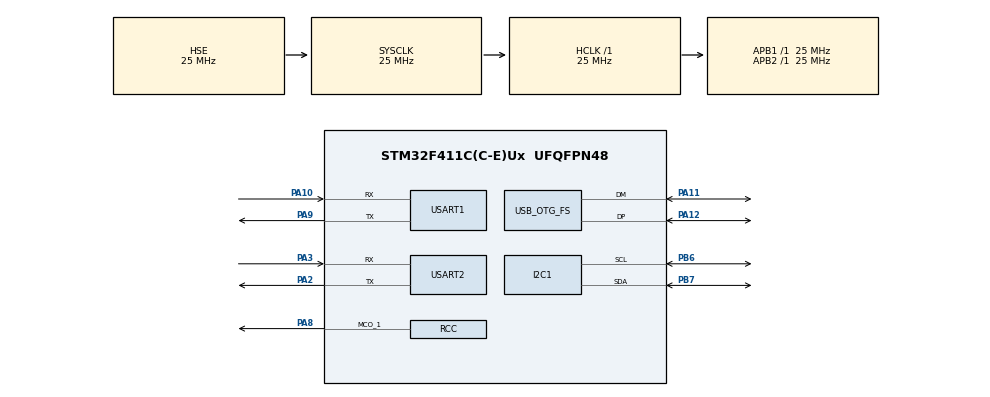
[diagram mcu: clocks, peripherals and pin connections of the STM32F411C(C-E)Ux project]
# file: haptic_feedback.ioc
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Mcu.Family=STM32F4
Mcu.Name=STM32F411C(C-E)Ux
Mcu.Package=UFQFPN48
NVIC.OTG_FS_IRQn=true\:0\:0\:false\:false\:true\:false\:true\:true
NVIC.PriorityGroup=NVIC_PRIORITYGROUP_4
PA10.Mode=Asynchronous
PA10.Signal=USART1_RX
PA11.Mode=Device_Only
PA11.Signal=USB_OTG_FS_DM
PA12.Mode=Device_Only
PA12.Signal=USB_OTG_FS_DP
PA2.GPIO_ModeDefaultPP=GPIO_MODE_AF_PP
PA2.GPIO_PuPd=GPIO_NOPULL
PA2.Mode=Asynchronous
PA2.Signal=USART2_TX
PA3.Mode=Asynchronous
PA3.Signal=USART2_RX
PA8.Mode=Clock-out-1
PA8.Signal=RCC_MCO_1
PA9.Mode=Asynchronous
PA9.Signal=USART1_TX
PB6.Mode=I2C
PB6.Signal=I2C1_SCL
PB7.Mode=I2C
PB7.Signal=I2C1_SDA
PH0\ -\ OSC_IN.Mode=HSE-External-Oscillator
PH0\ -\ OSC_IN.Signal=RCC_OSC_IN
PH1\ -\ OSC_OUT.Mode=HSE-External-Oscillator
PH1\ -\ OSC_OUT.Signal=RCC_OSC_OUT
ProjectManager.HeapSize=0x200
ProjectManager.StackSize=0x400
ProjectManager.TargetToolchain=CMake
RCC.48MHZClocksFreq_Value=48000000
RCC.AHBFreq_Value=25000000
RCC.APB1Freq_Value=25000000
RCC.APB1TimFreq_Value=25000000
RCC.APB2Freq_Value=25000000
RCC.APB2TimFreq_Value=25000000
RCC.CortexFreq_Value=25000000
RCC.HCLKFreq_Value=25000000
RCC.HSE_VALUE=25000000
RCC.HSI_VALUE=16000000
RCC.LSE_VALUE=32768
RCC.PLLM=15
RCC.PLLN=144
RCC.PLLQ=5
RCC.SYSCLKFreq_VALUE=25000000
RCC.SYSCLKSource=RCC_SYSCLKSOURCE_HSE
RCC.VCOOutputFreq_Value=240000000
USART1.VirtualMode=VM_ASYNC
USART2.VirtualMode=VM_ASYNC
USB_DEVICE.CLASS_NAME_FS=CDC
USB_DEVICE.VirtualMode=Cdc
USB_DEVICE.VirtualModeFS=Cdc_FS
USB_OTG_FS.VirtualMode=Device_Only
VP_USB_DEVICE_VS_USB_DEVICE_CDC_FS.Mode=CDC_FS
board=custom

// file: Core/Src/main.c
/* USER CODE BEGIN Header */
/**
  ******************************************************************************
  * @file           : main.c
  * @brief          : Main program body
  *                   Connections: I2C: green = clock, SC0 3rd from bottom right side => encoders
  *                                I2C: white = clock, SDA on adafruit, 4th from top right => STM
  *                              UART : PA9
  ******************************************************************************
  * @attention
  *
  * Copyright (c) 2026 STMicroelectronics.
  * All rights reserved.
  *
  * This software is licensed under terms that can be found in the LICENSE file
  * in the root directory of this software component.
  * If no LICENSE file comes with this software, it is provided AS-IS.
  *
  ******************************************************************************
  */
/* USER CODE END Header */
#include "main.h"
#include "usb_device.h"

/* USER CODE BEGIN Includes */
#include "math.h"
#include <string.h>
#include <stdio.h>
#include "logger.h"

/* USER CODE END Includes */

/* USER CODE BEGIN PD */
#define UART_TIMEOUT   100

// TCA9548A I2C Multiplexer address
#define TCA9548A_ADDR  0x70

// Magnetic Encoder (AS5600) address
#define ENCODER_ADDR   0x36

// Number of servos`
#define NUM_SERVOS     5

/* USER CODE END PD */

I2C_HandleTypeDef hi2c1;

UART_HandleTypeDef huart1;
UART_HandleTypeDef huart2;

/* USER CODE BEGIN PV */
uint8_t servo_packet[10];
uint16_t encoder_values[NUM_SERVOS];
char uart_buffer[64];
/* USER CODE END PV */

void SystemClock_Config(void);
static void MX_GPIO_Init(void);
static void MX_I2C1_Init(void);
static void MX_USART1_UART_Init(void);
static void MX_USART2_UART_Init(void);
/* USER CODE BEGIN PFP */
void lx16a_send_packet(uint8_t id, uint8_t cmd, uint8_t len, uint16_t angle, uint16_t time);
void tca9548a_select_channel(uint8_t channel);
uint16_t read_encoder(uint8_t channel);
void send_telemetry(void);
/* USER CODE END PFP */

/* USER CODE BEGIN 0 */
/**
  * @brief sends data packet to LX-16A servo
  * @param ID, CMD, LEN, Angle, Time
  */
void lx16a_send_packet(uint8_t id, uint8_t cmd, uint8_t len, uint16_t angle, uint16_t time) {
    // Packet format: 0x55 0x55 [ID] [LEN=7] CMD [PARAM_1] ... [PARAM_N]  [CHECKSUM]
    servo_packet[0] = 0x55;
    servo_packet[1] = 0x55;
    servo_packet[2] = id;
    servo_packet[3] = len;
    servo_packet[4] = cmd;
    servo_packet[5] = angle & 0xFF;
    servo_packet[6] = (angle >> 8) & 0xFF;
    servo_packet[7] = time & 0xFF;
    servo_packet[8] = (time >> 8) & 0xFF;
    servo_packet[9] = 0x00;

    // Calculate checksum (summation of bytes 2-8)
    uint8_t checksum = 0;
    for (int i = 2; i < 9; i++) {
        checksum += servo_packet[i];
    }
    servo_packet[9] = ~checksum;

    char buffer[120];
    int offset = sprintf(buffer, "packet contents: %02X %02X %02X %02X %02X %02X %02X %02X %02X %02X\n", servo_packet[0], servo_packet[1],
                          servo_packet[2], servo_packet[3], servo_packet[4], servo_packet[5], servo_packet[6], servo_packet[7], servo_packet[8],
                        servo_packet[9]);

    CDC_Transmit_FS((uint8_t*)buffer, offset);

    // Send over UART (blocking)
    HAL_UART_Transmit(&huart1, servo_packet, 10, UART_TIMEOUT);
    HAL_Delay(2);

}

void send_serial_packet()

/**
  * @brief Home LX-16A servos upon startup
  * @param channel Channel number (0-4 for servos 1-5)
  * @return 12-bit angle value (0-4095)
  */
void lx16a_home(void) {
  // home servos when loop starts
  lx16a_send_packet(254, LX16A_SERVO_MOVE_TIME_WRITE, 7, 0, 5000);

  lx16a_send_packet(254, LX16A_SERVO_MOVE_TIME_WRITE, 7, 500, 5000);

  lx16a_send_packet(254, LX16A_SERVO_MOVE_TIME_WRITE, 7, 1000, 5000);

  lx16a_send_packet(254, LX16A_SERVO_MOVE_TIME_WRITE, 7, 0, 5000);

}

/**
  * @brief Select a channel on the TCA9548A I2C multiplexer.
  * @param channel Channel number (0-7)
  */
void tca9548a_select_channel(uint8_t channel) {
    uint8_t cmd = 1 << channel;
    HAL_I2C_Master_Transmit(&hi2c1, TCA9548A_ADDR, &cmd, 1, 10);
}

/**
  * @brief Read the angle from a magnetic encoder on a specific multiplexer channel.
  * @param channel Channel number (0-4 for servos 1-5)
  * @return 12-bit angle value (0-4095)
  */
uint16_t read_encoder(uint8_t channel) {
    uint8_t raw[2];
    uint16_t angle = 0;

    // Select the multiplexer channel
    tca9548a_select_channel(channel);

    // Read 2 bytes from the encoder (AS5600 raw angle register)
    // AS5600: register 0x0C (high byte) and 0x0D (low byte)
    uint8_t reg = 0x0C;
    HAL_I2C_Master_Transmit(&hi2c1, ENCODER_ADDR << 8, &reg, 1, 10);
    HAL_I2C_Master_Receive(&hi2c1, ENCODER_ADDR << 8, raw, 2, 10);

    angle = ((uint16_t)raw[0] << 8) | raw[1];
    return angle;
}

/**
  * @brief Send telemetry data over UART (for debugging)
  */
void send_telemetry(void) {
    int len = sprintf(uart_buffer, "E: %4d %4d %4d %4d %4d\r\n",
                      encoder_values[0], encoder_values[1],
                      encoder_values[2], encoder_values[3],
                      encoder_values[4]);
    HAL_UART_Transmit(&huart2, (uint8_t*)uart_buffer, len, 100);
}
/* USER CODE END 0 */

int main(void)
{

  /* MCU Configuration--------------------------------------------------------*/

  /* Reset of all peripherals, Initializes the Flash interface and the Systick. */
  HAL_Init();

  /* Configure the system clock */
  SystemClock_Config();

  /* Initialize all configured peripherals */
  MX_GPIO_Init();
  MX_I2C1_Init();
  MX_USART1_UART_Init();
  MX_USART2_UART_Init();
  MX_USB_DEVICE_Init();
  /* USER CODE BEGIN 2 */
 // Initialize variables
  uint16_t angle;
  float time = 0.0f;
  logger_init();
  logger_setLevel(LOG_LEVEL_INFO);
  lx16a_home();
  // Initialize encoder values array
  for (int i = 0; i < NUM_SERVOS; i++) {
      encoder_values[i] = 0;
  }

  char msg[] = "All systems initialized!\r\n";
  CDC_Transmit_FS((uint8_t*)msg, strlen(msg));
  /* USER CODE END 2 */

  /* Infinite loop */
  /* USER CODE BEGIN WHILE */
  while (1)
  {

    angle = 500 + (uint16_t)(500 * sin(time));
    lx16a_send_packet(254, LX16A_SERVO_MOVE_TIME_WRITE, 7, angle, 20);

    // Send telemetry data over UART
    send_telemetry();

    // Delay 10ms (100Hz)
    HAL_Delay(10);
    time += 0.1f;
    /* USER CODE END WHILE */

  }
}

void SystemClock_Config(void)
{
  RCC_OscInitTypeDef RCC_OscInitStruct = {0};
  RCC_ClkInitTypeDef RCC_ClkInitStruct = {0};

  /** Configure the main internal regulator output voltage
  */
  __HAL_RCC_PWR_CLK_ENABLE();
  __HAL_PWR_VOLTAGESCALING_CONFIG(PWR_REGULATOR_VOLTAGE_SCALE1);

  /** Initializes the RCC Oscillators according to the specified parameters
  * in the RCC_OscInitTypeDef structure.
  */
  RCC_OscInitStruct.OscillatorType = RCC_OSCILLATORTYPE_HSI|RCC_OSCILLATORTYPE_HSE;
  RCC_OscInitStruct.HSEState = RCC_HSE_ON;
  RCC_OscInitStruct.HSIState = RCC_HSI_ON;
  RCC_OscInitStruct.HSICalibrationValue = RCC_HSICALIBRATION_DEFAULT;
  RCC_OscInitStruct.PLL.PLLState = RCC_PLL_ON;
  RCC_OscInitStruct.PLL.PLLSource = RCC_PLLSOURCE_HSE;
  RCC_OscInitStruct.PLL.PLLM = 15;
  RCC_OscInitStruct.PLL.PLLN = 144;
  RCC_OscInitStruct.PLL.PLLP = RCC_PLLP_DIV2;
  RCC_OscInitStruct.PLL.PLLQ = 5;
  if (HAL_RCC_OscConfig(&RCC_OscInitStruct) != HAL_OK)
  {
    Error_Handler();
  }

  /** Initializes the CPU, AHB and APB buses clocks
  */
  RCC_ClkInitStruct.ClockType = RCC_CLOCKTYPE_HCLK|RCC_CLOCKTYPE_SYSCLK
                              |RCC_CLOCKTYPE_PCLK1|RCC_CLOCKTYPE_PCLK2;
  RCC_ClkInitStruct.SYSCLKSource = RCC_SYSCLKSOURCE_HSE;
  RCC_ClkInitStruct.AHBCLKDivider = RCC_SYSCLK_DIV1;
  RCC_ClkInitStruct.APB1CLKDivider = RCC_HCLK_DIV1;
  RCC_ClkInitStruct.APB2CLKDivider = RCC_HCLK_DIV1;

  if (HAL_RCC_ClockConfig(&RCC_ClkInitStruct, FLASH_LATENCY_0) != HAL_OK)
  {
    Error_Handler();
  }
  HAL_RCC_MCOConfig(RCC_MCO1, RCC_MCO1SOURCE_HSI, RCC_MCODIV_1);
}

static void MX_I2C1_Init(void)
{

  hi2c1.Instance = I2C1;
  hi2c1.Init.ClockSpeed = 100000;
  hi2c1.Init.DutyCycle = I2C_DUTYCYCLE_2;
  hi2c1.Init.OwnAddress1 = 0;
  hi2c1.Init.AddressingMode = I2C_ADDRESSINGMODE_7BIT;
  hi2c1.Init.DualAddressMode = I2C_DUALADDRESS_DISABLE;
  hi2c1.Init.OwnAddress2 = 0;
  hi2c1.Init.GeneralCallMode = I2C_GENERALCALL_DISABLE;
  hi2c1.Init.NoStretchMode = I2C_NOSTRETCH_DISABLE;
  if (HAL_I2C_Init(&hi2c1) != HAL_OK)
  {
    Error_Handler();
  }

}

static void MX_USART1_UART_Init(void)
{

  huart1.Instance = USART1;
  huart1.Init.BaudRate = 115200;
  huart1.Init.WordLength = UART_WORDLENGTH_8B;
  huart1.Init.StopBits = UART_STOPBITS_1;
  huart1.Init.Parity = UART_PARITY_NONE;
  huart1.Init.Mode = UART_MODE_TX_RX;
  huart1.Init.HwFlowCtl = UART_HWCONTROL_NONE;
  huart1.Init.OverSampling = UART_OVERSAMPLING_16;
  if (HAL_UART_Init(&huart1) != HAL_OK)
  {
    Error_Handler();
  }

}

static void MX_USART2_UART_Init(void)
{

  huart2.Instance = USART2;
  huart2.Init.BaudRate = 115200;
  huart2.Init.WordLength = UART_WORDLENGTH_8B;
  huart2.Init.StopBits = UART_STOPBITS_1;
  huart2.Init.Parity = UART_PARITY_NONE;
  huart2.Init.Mode = UART_MODE_TX_RX;
  huart2.Init.HwFlowCtl = UART_HWCONTROL_NONE;
  huart2.Init.OverSampling = UART_OVERSAMPLING_16;
  if (HAL_UART_Init(&huart2) != HAL_OK)
  {
    Error_Handler();
  }

}

static void MX_GPIO_Init(void)
{
  GPIO_InitTypeDef GPIO_InitStruct = {0};

  /* GPIO Ports Clock Enable */
  __HAL_RCC_GPIOH_CLK_ENABLE();
  __HAL_RCC_GPIOA_CLK_ENABLE();
  __HAL_RCC_GPIOB_CLK_ENABLE();

  /*Configure GPIO pin : PA8 */
  GPIO_InitStruct.Pin = GPIO_PIN_8;
  GPIO_InitStruct.Mode = GPIO_MODE_AF_PP;
  GPIO_InitStruct.Pull = GPIO_NOPULL;
  GPIO_InitStruct.Speed = GPIO_SPEED_FREQ_LOW;
  GPIO_InitStruct.Alternate = GPIO_AF0_MCO;
  HAL_GPIO_Init(GPIOA, &GPIO_InitStruct);

}

void Error_Handler(void)
{
  __disable_irq();
  while (1)
  {
  }
}
